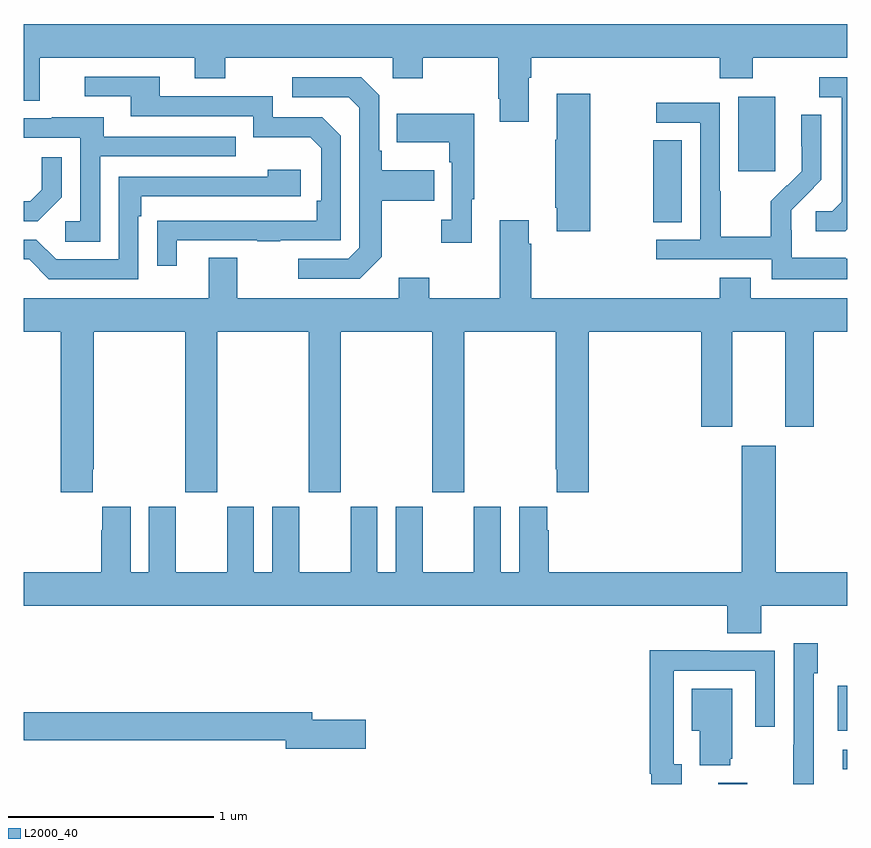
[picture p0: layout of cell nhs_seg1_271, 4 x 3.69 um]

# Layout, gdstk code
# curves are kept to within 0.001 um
import gdstk
lib = gdstk.Library(unit=1e-6, precision=1e-09)
def R(c, l, rs):  # rectangles x0, y0, x1, y1
    for r in rs: c.add(gdstk.rectangle(r[:2], r[2:], *l))
def P(c, l, *ps):  # polygons
    for p in ps: c.add(gdstk.Polygon(p, *l))
L2000_40 = (2000, 40)

nhs_seg1_271 = lib.new_cell('nhs_seg1_271')
R(nhs_seg1_271, L2000_40, [(128.375,552.199,128.515,552.205), (128.979,552.27,129,552.366), (128.954,552.458,129,552.677), (128.059,554.929,128.197,555.326), (128.471,555.177,128.65,555.538)])
P(nhs_seg1_271, L2000_40, [(127.453,555.632),(127.466,555.632),(127.466,555.728),(128.381,555.728),(128.381,555.629),(128.541,555.629),(128.541,555.728),(129,555.728),(129,555.892),(125,555.892),(125,555.52),(125.077,555.52),(125.077,555.728),(125.831,555.728),(125.831,555.629),(125.979,555.629),(125.979,555.728),(126.792,555.728),(126.792,555.629),(126.939,555.629),(126.939,555.728),(127.306,555.728),(127.306,555.529),(127.313,555.529),(127.313,555.417),(127.453,555.417)],
  [(125.743,554.841),(126.133,554.841),(126.133,554.836),(126.245,554.836),(126.245,554.841),(126.54,554.841),(126.54,555.348),(126.45,555.438),(126.21,555.438),(126.21,555.54),(125.659,555.54),(125.659,555.636),(125.295,555.636),(125.295,555.54),(125.519,555.54),(125.519,555.444),(126.114,555.444),(126.114,555.341),(126.391,555.341),(126.444,555.288),(126.444,555.034),(126.424,555.034),(126.424,554.937),(125.647,554.936),(125.647,554.718),(125.743,554.718)],
  [(129,554.895),(129,555.633),(128.864,555.633),(128.864,555.537),(128.975,555.537),(128.975,555.029),(128.928,554.982),(128.847,554.982),(128.847,554.885),(128.99,554.885)],
  [(126.739,554.761),(126.739,555.034),(126.995,555.034),(126.995,555.181),(126.739,555.181),(126.739,555.277),(126.726,555.277),(126.726,555.546),(126.639,555.633),(126.303,555.633),(126.303,555.537),(126.579,555.537),(126.63,555.486),(126.63,554.805),(126.576,554.751),(126.333,554.751),(126.333,554.655),(126.633,554.655)],
  [(127.752,555.553),(127.589,555.553),(127.589,555.329),(127.582,555.329),(127.582,554.998),(127.589,554.998),(127.589,554.886),(127.752,554.886)],
  [(129,554.751),(128.993,554.751),(128.993,554.755),(128.73,554.755),(128.73,554.889),(128.728,554.889),(128.728,554.986),(128.874,555.134),(128.874,555.452),(128.778,555.452),(128.778,555.298),(128.78,555.298),(128.78,555.176),(128.709,555.105),(128.706,555.108),(128.629,555.031),(128.629,554.857),(128.385,554.857),(128.385,555.08),(128.382,555.08),(128.382,555.51),(128.073,555.51),(128.073,555.411),(128.286,555.411),(128.286,554.844),(128.073,554.844),(128.073,554.748),(128.634,554.748),(128.634,554.651),(129,554.651)],
  [(127.177,555.041),(127.189,555.041),(127.189,555.457),(126.811,555.457),(126.811,555.317),(127.068,555.317),(127.068,555.221),(127.08,555.221),(127.08,554.942),(127.029,554.942),(127.029,554.829),(127.177,554.829)],
  [(125.37,555.249),(126.029,555.249),(126.029,555.345),(125.389,555.345),(125.389,555.439),(125.135,555.439),(125.135,555.435),(125,555.435),(125,555.339),(125.274,555.339),(125.274,554.934),(125.202,554.934),(125.202,554.833),(125.37,554.833)],
  [(125.184,555.05),(125.184,555.244),(125.087,555.244),(125.087,555.087),(125.03,555.03),(125,555.03),(125,554.934),(125.068,554.934)],
  [(125.556,554.957),(125.569,554.957),(125.569,555.054),(126.346,555.054),(126.346,555.184),(126.185,555.184),(126.185,555.15),(125.46,555.15),(125.46,554.748),(125.157,554.748),(125.061,554.844),(125,554.844),(125,554.748),(125.025,554.748),(125.121,554.652),(125.556,554.652)],
  [(125.335,553.729),(125.34,553.729),(125.34,554.396),(125.785,554.396),(125.785,553.617),(125.94,553.617),(125.94,554.396),(126.385,554.396),(126.385,553.617),(126.54,553.617),(126.54,554.396),(126.985,554.396),(126.985,553.617),(127.14,553.617),(127.14,554.396),(127.585,554.396),(127.585,553.729),(127.589,553.729),(127.589,553.617),(127.745,553.617),(127.745,554.396),(128.291,554.396),(128.291,553.935),(128.443,553.935),(128.443,554.396),(128.699,554.396),(128.699,553.935),(128.839,553.935),(128.839,554.396),(129,554.396),(129,554.56),(128.533,554.56),(128.533,554.659),(128.381,554.659),(128.381,554.56),(127.466,554.56),(127.466,554.825),(127.453,554.825),(127.453,554.938),(127.313,554.938),(127.313,554.56),(126.969,554.56),(126.969,554.659),(126.821,554.659),(126.821,554.56),(126.037,554.56),(126.037,554.755),(125.897,554.755),(125.897,554.56),(125,554.56),(125,554.396),(125.18,554.396),(125.18,553.617),(125.335,553.617)],
  [(128.582,553.064),(129,553.064),(129,553.228),(128.653,553.228),(128.653,553.843),(128.489,553.843),(128.489,553.228),(127.55,553.228),(127.55,553.433),(127.543,553.433),(127.543,553.546),(127.406,553.546),(127.406,553.228),(127.318,553.228),(127.318,553.546),(127.187,553.546),(127.187,553.228),(126.937,553.228),(126.937,553.546),(126.806,553.546),(126.806,553.228),(126.718,553.228),(126.718,553.546),(126.587,553.546),(126.587,553.228),(126.337,553.228),(126.337,553.546),(126.206,553.546),(126.206,553.228),(126.118,553.228),(126.118,553.546),(125.987,553.546),(125.987,553.228),(125.737,553.228),(125.737,553.546),(125.606,553.546),(125.606,553.228),(125.518,553.228),(125.518,553.546),(125.381,553.546),(125.381,553.433),(125.375,553.433),(125.375,553.228),(125,553.228),(125,553.064),(128.417,553.064),(128.417,552.931),(128.582,552.931)],
  [(128.838,552.738),(128.857,552.738),(128.857,552.883),(128.742,552.883),(128.742,552.389),(128.739,552.389),(128.739,552.199),(128.838,552.199)],
  [(128.197,552.294),(128.157,552.294),(128.157,552.75),(128.553,552.75),(128.553,552.477),(128.649,552.477),(128.649,552.846),(128.333,552.846),(128.333,552.848),(128.041,552.848),(128.041,552.25),(128.049,552.25),(128.049,552.199),(128.197,552.199)],
  [(128.432,552.321),(128.443,552.321),(128.443,552.661),(128.246,552.661),(128.246,552.458),(128.285,552.458),(128.285,552.29),(128.432,552.29)],
  [(126.661,552.512),(126.4,552.512),(126.4,552.548),(125,552.548),(125,552.412),(126.272,552.412),(126.272,552.37),(126.661,552.37)])

lib.write_gds('nhs_seg1_271.gds')
